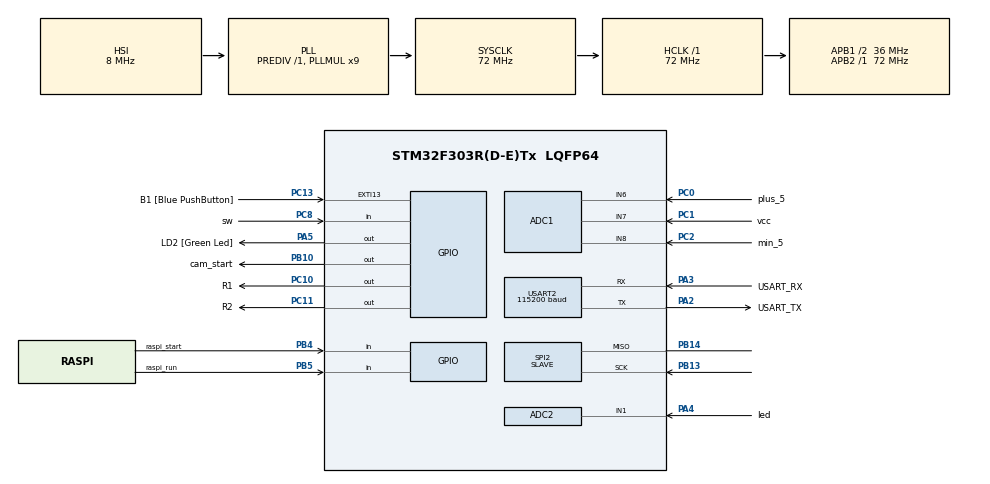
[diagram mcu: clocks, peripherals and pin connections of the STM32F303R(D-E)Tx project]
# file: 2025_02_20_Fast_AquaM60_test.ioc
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ADC1.Channel-5\#ChannelRegularConversion=ADC_CHANNEL_6
ADC1.Channel-6\#ChannelRegularConversion=ADC_CHANNEL_7
ADC1.Channel-7\#ChannelRegularConversion=ADC_CHANNEL_8
ADC1.ClockPrescaler=ADC_CLOCK_SYNC_PCLK_DIV1
ADC1.ContinuousConvMode=ENABLE
ADC1.DiscontinuousConvMode=DISABLE
ADC1.NbrOfConversion=3
ADC1.NbrOfConversionFlag=1
ADC1.Offset-5\#ChannelRegularConversion=0
ADC1.Offset-6\#ChannelRegularConversion=0
ADC1.Offset-7\#ChannelRegularConversion=0
ADC1.OffsetNumber-5\#ChannelRegularConversion=ADC_OFFSET_NONE
ADC1.OffsetNumber-6\#ChannelRegularConversion=ADC_OFFSET_NONE
ADC1.OffsetNumber-7\#ChannelRegularConversion=ADC_OFFSET_NONE
ADC1.Rank-5\#ChannelRegularConversion=1
ADC1.Rank-6\#ChannelRegularConversion=2
ADC1.Rank-7\#ChannelRegularConversion=3
ADC1.SamplingTime-5\#ChannelRegularConversion=ADC_SAMPLETIME_19CYCLES_5
ADC1.SamplingTime-6\#ChannelRegularConversion=ADC_SAMPLETIME_19CYCLES_5
ADC1.SamplingTime-7\#ChannelRegularConversion=ADC_SAMPLETIME_19CYCLES_5
ADC1.SamplingTimeOPAMP-7\#ChannelRegularConversion=ADC_SAMPLETIME_61CYCLES_5
ADC1.master=1
ADC2.Channel-19\#ChannelRegularConversion=ADC_CHANNEL_1
ADC2.ClockPrescaler=ADC_CLOCK_SYNC_PCLK_DIV1
ADC2.ContinuousConvMode=ENABLE
ADC2.NbrOfConversionFlag=1
ADC2.Offset-19\#ChannelRegularConversion=0
ADC2.OffsetNumber-19\#ChannelRegularConversion=ADC_OFFSET_NONE
ADC2.Rank-19\#ChannelRegularConversion=1
ADC2.SamplingTime-19\#ChannelRegularConversion=ADC_SAMPLETIME_1CYCLE_5
Dma.ADC1.0.Direction=DMA_PERIPH_TO_MEMORY
Dma.ADC1.0.Instance=DMA1_Channel1
Dma.ADC1.0.MemDataAlignment=DMA_MDATAALIGN_WORD
Dma.ADC1.0.MemInc=DMA_MINC_ENABLE
Dma.ADC1.0.Mode=DMA_CIRCULAR
Dma.ADC1.0.PeriphDataAlignment=DMA_PDATAALIGN_HALFWORD
Dma.ADC1.0.PeriphInc=DMA_PINC_DISABLE
Dma.ADC1.0.Priority=DMA_PRIORITY_MEDIUM
Dma.Request0=ADC1
Mcu.Family=STM32F3
Mcu.Name=STM32F303R(D-E)Tx
Mcu.Package=LQFP64
NVIC.DMA1_Channel1_IRQn=true\:0\:0\:false\:false\:true\:false\:true\:true
NVIC.PriorityGroup=NVIC_PRIORITYGROUP_0
PA13.GPIO_Label=TMS
PA13.Mode=Serial_Wire
PA13.Signal=SYS_JTMS-SWDIO
PA14.GPIO_Label=TCK
PA14.Mode=Serial_Wire
PA14.Signal=SYS_JTCK-SWCLK
PA2.GPIO_Label=USART_TX
PA2.GPIO_Mode=GPIO_MODE_AF_PP
PA2.GPIO_PuPd=GPIO_NOPULL
PA2.GPIO_Speed=GPIO_SPEED_FREQ_LOW
PA2.Mode=Asynchronous
PA2.Signal=USART2_TX
PA3.GPIO_Label=USART_RX
PA3.GPIO_Mode=GPIO_MODE_AF_PP
PA3.GPIO_PuPd=GPIO_NOPULL
PA3.GPIO_Speed=GPIO_SPEED_FREQ_LOW
PA3.Mode=Asynchronous
PA3.Signal=USART2_RX
PA4.GPIO_Label=led
PA4.Mode=IN1-Single-Ended
PA4.Signal=ADC2_IN1
PA5.GPIO_Label=LD2 [Green Led]
PA5.GPIO_Mode=GPIO_MODE_OUTPUT_PP
PA5.GPIO_PuPd=GPIO_NOPULL
PA5.GPIO_Speed=GPIO_SPEED_FREQ_LOW
PA5.Signal=GPIO_Output
PB10.GPIO_Label=cam_start
PB10.GPIO_PuPd=GPIO_PULLDOWN
PB10.GPIO_Speed=GPIO_SPEED_FREQ_HIGH
PB10.Signal=GPIO_Output
PB13.Mode=Simplex_Bidirectional_Slave
PB13.Signal=SPI2_SCK
PB14.Mode=Simplex_Bidirectional_Slave
PB14.Signal=SPI2_MISO
PB3.GPIO_Label=SWO
PB3.Signal=SYS_JTDO-TRACESWO
PB4.GPIO_Label=raspi_start
PB4.GPIO_PuPd=GPIO_PULLDOWN
PB4.Signal=GPIO_Input
PB5.GPIO_Label=raspi_run
PB5.GPIO_PuPd=GPIO_PULLDOWN
PB5.Signal=GPIO_Input
PC0.GPIO_Label=plus_5
PC0.Signal=ADCx_IN6
PC1.GPIO_Label=vcc
PC1.Signal=ADCx_IN7
PC10.GPIO_Label=R1
PC10.Signal=GPIO_Output
PC11.GPIO_Label=R2
PC11.GPIO_PuPd=GPIO_PULLDOWN
PC11.Signal=GPIO_Output
PC13.GPIO_Label=B1 [Blue PushButton]
PC13.GPIO_ModeDefaultEXTI=GPIO_MODE_IT_FALLING
PC13.Signal=GPXTI13
PC14-OSC32_IN.Mode=LSE-External-Oscillator
PC14-OSC32_IN.Signal=RCC_OSC32_IN
PC15-OSC32_OUT.Mode=LSE-External-Oscillator
PC15-OSC32_OUT.Signal=RCC_OSC32_OUT
PC2.GPIO_Label=min_5
PC2.Signal=ADCx_IN8
PC8.GPIO_Label=sw
PC8.GPIO_PuPd=GPIO_PULLDOWN
PC8.Signal=GPIO_Input
PF0-OSC_IN.Mode=HSE-External-Clock-Source
PF0-OSC_IN.Signal=RCC_OSC_IN
PF1-OSC_OUT.Signal=RCC_OSC_OUT
ProjectManager.HeapSize=0x200
ProjectManager.StackSize=0x400
ProjectManager.TargetToolchain=STM32CubeIDE
RCC.AHBFreq_Value=72000000
RCC.APB1CLKDivider=RCC_HCLK_DIV2
RCC.APB1Freq_Value=36000000
RCC.APB1TimFreq_Value=72000000
RCC.APB2Freq_Value=72000000
RCC.APB2TimFreq_Value=72000000
RCC.CortexFreq_Value=72000000
RCC.HCLKFreq_Value=72000000
RCC.HSE_VALUE=8000000
RCC.HSI_VALUE=8000000
RCC.PLLM=8
RCC.PLLMUL=RCC_PLL_MUL9
RCC.PLLN=336
RCC.PLLP=RCC_PLLP_DIV4
RCC.PLLQ=7
RCC.RCC_PLLsource_Clock_Source_FROM_HSE=RCC_HSE_PREDIV_DIV2
RCC.SYSCLKFreq_VALUE=72000000
RCC.SYSCLKSourceVirtual=RCC_SYSCLKSOURCE_PLLCLK
RCC.USBFreq_Value=72000000
SH.ADCx_IN6.0=ADC1_IN6,IN6-Single-Ended
SH.ADCx_IN7.0=ADC1_IN7,IN7-Single-Ended
SH.ADCx_IN8.0=ADC1_IN8,IN8-Single-Ended
SPI2.Direction=SPI_DIRECTION_1LINE
SPI2.Mode=SPI_MODE_SLAVE
SPI2.VirtualType=VM_SLAVE
USART2.BaudRate=115200
USART2.VirtualMode-Asynchronous=VM_ASYNC
board=NUCLEO-F303RE

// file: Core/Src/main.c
/* USER CODE BEGIN Header */
/**
  ******************************************************************************
  * @file           : main.c
  * @brief          : Main program body
  ******************************************************************************
  * @attention
  *
  * Copyright (c) 2024 STMicroelectronics.
  * All rights reserved.
  *
  * This software is licensed under terms that can be found in the LICENSE file
  * in the root directory of this software component.
  * If no LICENSE file comes with this software, it is provided AS-IS.
  *
  ******************************************************************************
  */
/* USER CODE END Header */
#include "main.h"

/* USER CODE BEGIN Includes */
#include <stdio.h>
#include <string.h>
#include <math.h>
#include <stdbool.h>
/* USER CODE END Includes */

/* USER CODE BEGIN PD */
#define NUM_CHANNELS 3
/* USER CODE END PD */

ADC_HandleTypeDef hadc1;
ADC_HandleTypeDef hadc2;
DMA_HandleTypeDef hdma_adc1;

SPI_HandleTypeDef hspi2;

UART_HandleTypeDef huart2;

/* USER CODE BEGIN PV */
char uart_buffer[50];
uint32_t adc_dma_buffer[NUM_CHANNELS];  // Stores ADC results
uint16_t vcc = 0;
uint32_t vcc_sum = 0;
uint16_t vcc_avg = 0;

uint16_t led = 0;
uint32_t led_sum = 0;
uint16_t led_avg = 0;

uint16_t plus_5 = 0;
uint32_t plus_5_sum = 0;
uint16_t plus_5_avg = 0;

uint16_t min_5 = 0;
uint32_t min_5_sum = 0;
uint16_t min_5_avg = 0;

uint32_t sample_count = 0;

char volt[100];
bool buttonPreviouslyPressed = false;
uint32_t buttonPressStart = 0;

uint16_t start_time;
/* USER CODE END PV */

void SystemClock_Config(void);
static void MX_GPIO_Init(void);
static void MX_DMA_Init(void);
static void MX_USART2_UART_Init(void);
static void MX_ADC1_Init(void);
static void MX_ADC2_Init(void);
static void MX_SPI2_Init(void);
/* USER CODE BEGIN PFP */
void send_msg(char *msg);
void screen_validate(void);
void voltage_messung(void);
/* USER CODE END PFP */

int main(void)
{

  /* MCU Configuration--------------------------------------------------------*/

  /* Reset of all peripherals, Initializes the Flash interface and the Systick. */
  HAL_Init();

  /* Configure the system clock */
  SystemClock_Config();

  /* Initialize all configured peripherals */
  MX_GPIO_Init();
  MX_DMA_Init();
  MX_USART2_UART_Init();
  MX_ADC1_Init();
  MX_ADC2_Init();
  MX_SPI2_Init();
  /* USER CODE BEGIN 2 */
  send_msg("Press Button for Start.....\r\n");

  /* USER CODE END 2 */

  /* Infinite loop */
  while (1)
  {

    /* USER CODE BEGIN 3 */

	  GPIO_PinState buttonState = HAL_GPIO_ReadPin(sw_GPIO_Port, sw_Pin);

	  	      if (buttonState == GPIO_PIN_SET) // Button is being pressed
	  	      {
	  	          if (!buttonPreviouslyPressed)
	  	          {
	  	              // First time seeing the button pressed
	  	              buttonPressStart = HAL_GetTick();
	  	              buttonPreviouslyPressed = 1;
	  	          }
	  	          else
	  	          {
	  	              // Button is still being held
	  	              if ((HAL_GetTick() - buttonPressStart) >= 2000)
	  	              {
	  	                  // Button held for 3 seconds → RESET
	  	            	  send_msg("\r\n\r\n Reseting Device.... \r\n\r\n");
	  	            	  HAL_Delay(100);
	  	                  __NVIC_SystemReset();
	  	              }
	  	          }
	  	      }
	  	      else
	  	      {
	  	          if (buttonPreviouslyPressed)
	  	          {
	  	              // Button was released — check if it was a short press
	  	              if ((HAL_GetTick() - buttonPressStart) < 2000)
	  	              {

	  	            	// Short press → run your code
	  	            	// Your one-click action here

	  	               /*
	  	            	* 	das Gerät einschalten
	  	            	* 	1,	Press button through relay
	  	            	* 	2,	Start R1 Relay
	  	            	* 	3,	After 200 mili-second stop R1 Relay
	  	            	*/
	  	            		      // At time 0, set pin 1 HIGH
	  	            		           	   send_msg("start device ! \r\n");
//	            	  		  		  	HAL_GPIO_WritePin(GPIOC, R1_Pin, GPIO_PIN_RESET);
//	            	  		  	// At 200 mili second, pin 1 should go LOW
//	            	  		  		  	HAL_Delay(200);
//	            	  		  		  	HAL_GPIO_WritePin(GPIOC, R1_Pin, GPIO_PIN_SET);

	  	               /*
	  	            	*	Einschalten des LED-Lichts
	  	            	* 	1,	Press button through relay for 2500 mili-second
	  	            	* 	2,	after 3500 mili-second of release of R1 relay
	  	            	* 	3,	Start R2 Relay
	  	            	* 	4,	After 2500 mili-second stop R2 Relay
	  	            	*/
	  	            		     // After 3600 mili second(3,6 second), set pin 2 HIGH
//	            	  		  		   HAL_Delay(3500);
//	            	  		  		   send_msg("start LED light & Measurement ! \r\n");
//	            	  		  		   HAL_GPIO_WritePin(GPIOC, R2_Pin, GPIO_PIN_RESET);
//	            	  		  	// After 2500 mili-second, set pin 2 LOW
//	            	  		  		   HAL_Delay(2500);
//	            	  		  		   HAL_GPIO_WritePin(GPIOC, R2_Pin, GPIO_PIN_SET);

	  	            	/*
	  	            	 * 	Starten einer Spannungsmessung
	  	            	 */
//	           						HAL_Delay(200);
	  	            		        send_msg("start voltage measuring ! \r\n");
	  	            		        voltage_messung();

	  	            	/*
	  	            	 *	einen Bildschirm validieren
	  	            	 */
//	            	  		  		 HAL_Delay(100);
	  	            		         send_msg("start display validating ! \r\n");
	            	  		  		 screen_validate();

	  	            	/*
	  	            	 *	das Gerät einschalten
	  	            	 * 	1,	Press button through relay
	  	            	 * 	2,	Start R1 Relay
	  	            	 * 	3,	After 2500 mili-second stop R1 Relay
	  	            	 */

	  	            		    // After validating screen, set pin 1 HIGH
//	            	  		  		  HAL_Delay(10);
//	            	  		  		  HAL_GPIO_WritePin(GPIOC, R1_Pin, GPIO_PIN_RESET);
	  	            		         send_msg("stop device ! \r\n\r\n");
//	            	  		  	// After 2500 mili second, pin 1 should go LOW
//	            	  		  		  HAL_Delay(2500);
//	            	  		  		  HAL_GPIO_WritePin(GPIOC, R1_Pin, GPIO_PIN_SET);
//	            	  		  		  HAL_Delay(2000);

	  	              }
	  	            buttonPreviouslyPressed = 0;

	  	      }

	  	    }
  }
  /* USER CODE END 3 */
}

void SystemClock_Config(void)
{
  RCC_OscInitTypeDef RCC_OscInitStruct = {0};
  RCC_ClkInitTypeDef RCC_ClkInitStruct = {0};
  RCC_PeriphCLKInitTypeDef PeriphClkInit = {0};

  /** Initializes the RCC Oscillators according to the specified parameters
  * in the RCC_OscInitTypeDef structure.
  */
  RCC_OscInitStruct.OscillatorType = RCC_OSCILLATORTYPE_HSI;
  RCC_OscInitStruct.HSIState = RCC_HSI_ON;
  RCC_OscInitStruct.HSICalibrationValue = RCC_HSICALIBRATION_DEFAULT;
  RCC_OscInitStruct.PLL.PLLState = RCC_PLL_ON;
  RCC_OscInitStruct.PLL.PLLSource = RCC_PLLSOURCE_HSI;
  RCC_OscInitStruct.PLL.PLLMUL = RCC_PLL_MUL9;
  RCC_OscInitStruct.PLL.PREDIV = RCC_PREDIV_DIV1;
  if (HAL_RCC_OscConfig(&RCC_OscInitStruct) != HAL_OK)
  {
    Error_Handler();
  }

  /** Initializes the CPU, AHB and APB buses clocks
  */
  RCC_ClkInitStruct.ClockType = RCC_CLOCKTYPE_HCLK|RCC_CLOCKTYPE_SYSCLK
                              |RCC_CLOCKTYPE_PCLK1|RCC_CLOCKTYPE_PCLK2;
  RCC_ClkInitStruct.SYSCLKSource = RCC_SYSCLKSOURCE_PLLCLK;
  RCC_ClkInitStruct.AHBCLKDivider = RCC_SYSCLK_DIV1;
  RCC_ClkInitStruct.APB1CLKDivider = RCC_HCLK_DIV2;
  RCC_ClkInitStruct.APB2CLKDivider = RCC_HCLK_DIV1;

  if (HAL_RCC_ClockConfig(&RCC_ClkInitStruct, FLASH_LATENCY_2) != HAL_OK)
  {
    Error_Handler();
  }
  PeriphClkInit.PeriphClockSelection = RCC_PERIPHCLK_USART2;
  PeriphClkInit.Usart2ClockSelection = RCC_USART2CLKSOURCE_PCLK1;
  if (HAL_RCCEx_PeriphCLKConfig(&PeriphClkInit) != HAL_OK)
  {
    Error_Handler();
  }
}

static void MX_ADC1_Init(void)
{

  ADC_MultiModeTypeDef multimode = {0};
  ADC_ChannelConfTypeDef sConfig = {0};

  /** Common config
  */
  hadc1.Instance = ADC1;
  hadc1.Init.ClockPrescaler = ADC_CLOCK_SYNC_PCLK_DIV1;
  hadc1.Init.Resolution = ADC_RESOLUTION_12B;
  hadc1.Init.ScanConvMode = ADC_SCAN_ENABLE;
  hadc1.Init.ContinuousConvMode = ENABLE;
  hadc1.Init.DiscontinuousConvMode = DISABLE;
  hadc1.Init.ExternalTrigConvEdge = ADC_EXTERNALTRIGCONVEDGE_NONE;
  hadc1.Init.ExternalTrigConv = ADC_SOFTWARE_START;
  hadc1.Init.DataAlign = ADC_DATAALIGN_RIGHT;
  hadc1.Init.NbrOfConversion = 3;
  hadc1.Init.DMAContinuousRequests = DISABLE;
  hadc1.Init.EOCSelection = ADC_EOC_SINGLE_CONV;
  hadc1.Init.LowPowerAutoWait = DISABLE;
  hadc1.Init.Overrun = ADC_OVR_DATA_OVERWRITTEN;
  if (HAL_ADC_Init(&hadc1) != HAL_OK)
  {
    Error_Handler();
  }

  /** Configure the ADC multi-mode
  */
  multimode.Mode = ADC_MODE_INDEPENDENT;
  if (HAL_ADCEx_MultiModeConfigChannel(&hadc1, &multimode) != HAL_OK)
  {
    Error_Handler();
  }

  /** Configure Regular Channel
  */
  sConfig.Channel = ADC_CHANNEL_6;
  sConfig.Rank = ADC_REGULAR_RANK_1;
  sConfig.SingleDiff = ADC_SINGLE_ENDED;
  sConfig.SamplingTime = ADC_SAMPLETIME_1CYCLE_5;
  sConfig.OffsetNumber = ADC_OFFSET_NONE;
  sConfig.Offset = 0;
  if (HAL_ADC_ConfigChannel(&hadc1, &sConfig) != HAL_OK)
  {
    Error_Handler();
  }

  /** Configure Regular Channel
  */
  sConfig.Channel = ADC_CHANNEL_7;
  sConfig.Rank = ADC_REGULAR_RANK_2;
  if (HAL_ADC_ConfigChannel(&hadc1, &sConfig) != HAL_OK)
  {
    Error_Handler();
  }

  /** Configure Regular Channel
  */
  sConfig.Channel = ADC_CHANNEL_8;
  sConfig.Rank = ADC_REGULAR_RANK_3;
  if (HAL_ADC_ConfigChannel(&hadc1, &sConfig) != HAL_OK)
  {
    Error_Handler();
  }

}

static void MX_ADC2_Init(void)
{

  ADC_ChannelConfTypeDef sConfig = {0};

  /** Common config
  */
  hadc2.Instance = ADC2;
  hadc2.Init.ClockPrescaler = ADC_CLOCK_SYNC_PCLK_DIV1;
  hadc2.Init.Resolution = ADC_RESOLUTION_12B;
  hadc2.Init.ScanConvMode = ADC_SCAN_DISABLE;
  hadc2.Init.ContinuousConvMode = ENABLE;
  hadc2.Init.DiscontinuousConvMode = DISABLE;
  hadc2.Init.ExternalTrigConvEdge = ADC_EXTERNALTRIGCONVEDGE_NONE;
  hadc2.Init.ExternalTrigConv = ADC_SOFTWARE_START;
  hadc2.Init.DataAlign = ADC_DATAALIGN_RIGHT;
  hadc2.Init.NbrOfConversion = 1;
  hadc2.Init.DMAContinuousRequests = DISABLE;
  hadc2.Init.EOCSelection = ADC_EOC_SINGLE_CONV;
  hadc2.Init.LowPowerAutoWait = DISABLE;
  hadc2.Init.Overrun = ADC_OVR_DATA_OVERWRITTEN;
  if (HAL_ADC_Init(&hadc2) != HAL_OK)
  {
    Error_Handler();
  }

  /** Configure Regular Channel
  */
  sConfig.Channel = ADC_CHANNEL_1;
  sConfig.Rank = ADC_REGULAR_RANK_1;
  sConfig.SingleDiff = ADC_SINGLE_ENDED;
  sConfig.SamplingTime = ADC_SAMPLETIME_1CYCLE_5;
  sConfig.OffsetNumber = ADC_OFFSET_NONE;
  sConfig.Offset = 0;
  if (HAL_ADC_ConfigChannel(&hadc2, &sConfig) != HAL_OK)
  {
    Error_Handler();
  }

}

static void MX_SPI2_Init(void)
{

  /* SPI2 parameter configuration*/
  hspi2.Instance = SPI2;
  hspi2.Init.Mode = SPI_MODE_SLAVE;
  hspi2.Init.Direction = SPI_DIRECTION_1LINE;
  hspi2.Init.DataSize = SPI_DATASIZE_4BIT;
  hspi2.Init.CLKPolarity = SPI_POLARITY_LOW;
  hspi2.Init.CLKPhase = SPI_PHASE_1EDGE;
  hspi2.Init.NSS = SPI_NSS_SOFT;
  hspi2.Init.FirstBit = SPI_FIRSTBIT_MSB;
  hspi2.Init.TIMode = SPI_TIMODE_DISABLE;
  hspi2.Init.CRCCalculation = SPI_CRCCALCULATION_DISABLE;
  hspi2.Init.CRCPolynomial = 7;
  hspi2.Init.CRCLength = SPI_CRC_LENGTH_DATASIZE;
  hspi2.Init.NSSPMode = SPI_NSS_PULSE_DISABLE;
  if (HAL_SPI_Init(&hspi2) != HAL_OK)
  {
    Error_Handler();
  }

}

static void MX_USART2_UART_Init(void)
{

  huart2.Instance = USART2;
  huart2.Init.BaudRate = 115200;
  huart2.Init.WordLength = UART_WORDLENGTH_8B;
  huart2.Init.StopBits = UART_STOPBITS_1;
  huart2.Init.Parity = UART_PARITY_NONE;
  huart2.Init.Mode = UART_MODE_TX_RX;
  huart2.Init.HwFlowCtl = UART_HWCONTROL_NONE;
  huart2.Init.OverSampling = UART_OVERSAMPLING_16;
  huart2.Init.OneBitSampling = UART_ONE_BIT_SAMPLE_DISABLE;
  huart2.AdvancedInit.AdvFeatureInit = UART_ADVFEATURE_NO_INIT;
  if (HAL_UART_Init(&huart2) != HAL_OK)
  {
    Error_Handler();
  }

}

static void MX_DMA_Init(void)
{

  /* DMA controller clock enable */
  __HAL_RCC_DMA1_CLK_ENABLE();

  /* DMA interrupt init */
  /* DMA1_Channel1_IRQn interrupt configuration */
  HAL_NVIC_SetPriority(DMA1_Channel1_IRQn, 0, 0);
  HAL_NVIC_EnableIRQ(DMA1_Channel1_IRQn);

}

static void MX_GPIO_Init(void)
{
  GPIO_InitTypeDef GPIO_InitStruct = {0};

  /* GPIO Ports Clock Enable */
  __HAL_RCC_GPIOC_CLK_ENABLE();
  __HAL_RCC_GPIOF_CLK_ENABLE();
  __HAL_RCC_GPIOA_CLK_ENABLE();
  __HAL_RCC_GPIOB_CLK_ENABLE();

  /*Configure GPIO pin Output Level */
  HAL_GPIO_WritePin(LD2_GPIO_Port, LD2_Pin, GPIO_PIN_RESET);

  /*Configure GPIO pin Output Level */
  HAL_GPIO_WritePin(GPIOC, R1_Pin|R2_Pin, GPIO_PIN_RESET);

  /*Configure GPIO pin Output Level */
  HAL_GPIO_WritePin(GPIOB, raspi_start_Pin|raspi_run_Pin, GPIO_PIN_RESET);

  /*Configure GPIO pin : B1_Pin */
  GPIO_InitStruct.Pin = B1_Pin;
  GPIO_InitStruct.Mode = GPIO_MODE_IT_FALLING;
  GPIO_InitStruct.Pull = GPIO_NOPULL;
  HAL_GPIO_Init(B1_GPIO_Port, &GPIO_InitStruct);

  /*Configure GPIO pin : LD2_Pin */
  GPIO_InitStruct.Pin = LD2_Pin;
  GPIO_InitStruct.Mode = GPIO_MODE_OUTPUT_PP;
  GPIO_InitStruct.Pull = GPIO_NOPULL;
  GPIO_InitStruct.Speed = GPIO_SPEED_FREQ_LOW;
  HAL_GPIO_Init(LD2_GPIO_Port, &GPIO_InitStruct);

  /*Configure GPIO pin : cam_start_Pin */
  GPIO_InitStruct.Pin = cam_start_Pin;
  GPIO_InitStruct.Mode = GPIO_MODE_OUTPUT_PP;
  GPIO_InitStruct.Pull = GPIO_PULLDOWN;
  HAL_GPIO_Init(cam_start_GPIO_Port, &GPIO_InitStruct);

  /*Configure GPIO pin : sw_Pin */
  GPIO_InitStruct.Pin = sw_Pin;
  GPIO_InitStruct.Mode = GPIO_MODE_INPUT;
  GPIO_InitStruct.Pull = GPIO_PULLDOWN;
  HAL_GPIO_Init(sw_GPIO_Port, &GPIO_InitStruct);

  /*Configure GPIO pins : R1_Pin R2_Pin */
  GPIO_InitStruct.Pin = R1_Pin|R2_Pin;
  GPIO_InitStruct.Mode = GPIO_MODE_OUTPUT_PP;
  GPIO_InitStruct.Pull = GPIO_PULLDOWN;
  GPIO_InitStruct.Speed = GPIO_SPEED_FREQ_LOW;
  HAL_GPIO_Init(GPIOC, &GPIO_InitStruct);

  /*Configure GPIO pins : raspi_start_Pin raspi_run_Pin */
  GPIO_InitStruct.Pin = raspi_start_Pin|raspi_run_Pin;
  GPIO_InitStruct.Mode = GPIO_MODE_INPUT;
  GPIO_InitStruct.Pull = GPIO_PULLDOWN;
  GPIO_InitStruct.Speed = GPIO_SPEED_FREQ_LOW;
  HAL_GPIO_Init(GPIOB, &GPIO_InitStruct);

}

/* USER CODE BEGIN 4 */
void screen_validate(void){

	uint8_t RX_Buffer [2];

	if(HAL_GPIO_ReadPin(raspi_start_GPIO_Port, raspi_start_Pin) == 1){
		send_msg("raspberry pi is OK \r\n");		// send message that raspberry pi is OK

		// start raspberry pi by giving signal to cam_start pin
		HAL_GPIO_WritePin(cam_start_GPIO_Port, cam_start_Pin, GPIO_PIN_SET);
		HAL_Delay(250);
		HAL_GPIO_WritePin(cam_start_GPIO_Port, cam_start_Pin, GPIO_PIN_RESET);
		HAL_Delay(1500);

		if(HAL_GPIO_ReadPin(raspi_run_GPIO_Port, raspi_run_Pin) == 1)send_msg("raspberry pi is running \r\n");		// send message raspberry pi is running
		// check if the raspberry pi is running or not
		while(HAL_GPIO_ReadPin(raspi_run_GPIO_Port, raspi_run_Pin) == 1){

			HAL_SPI_Receive(&hspi2, RX_Buffer, sizeof(RX_Buffer), 9000); //Receiving data in Blocking mode
			uint8_t data = ((RX_Buffer[0] << 4) | RX_Buffer[1]);

			if(data == 0x2A){
				send_msg("screen is working OK \r\n");
			}
			else if(data == 0x24){
				send_msg("screen is not OK \r\n");
			}
			else send_msg("Reset STM Board \r\n");

		}

	}
	else send_msg("Raspberry pi is not working ! \r\n");
}

void voltage_messung(void){

	for (int i = 0; i < NUM_CHANNELS; i++) {
	    adc_dma_buffer[i] = 0;
	}

	// Start ADC with DMA
	HAL_ADC_Start_DMA(&hadc1, adc_dma_buffer, NUM_CHANNELS);

	start_time = HAL_GetTick();

	while((HAL_GetTick()-start_time) < 2000){

		HAL_ADC_Start(&hadc2); // Start ADC Conversion
		HAL_ADC_PollForConversion(&hadc2, HAL_MAX_DELAY); // Poll ADC1 Peripheral
		led = HAL_ADC_GetValue(&hadc2); // Read ADC Conversion Resulte
		HAL_ADC_Stop(&hadc2);

		// You can use adc_dma_buffer[0] and adc_dma_buffer[1] any time!
		  	 plus_5 = adc_dma_buffer[0];
		  	 vcc = adc_dma_buffer[1];
		  	 min_5 = adc_dma_buffer[2];

		sprintf(volt, "/* %d, %d, %d, %d */ \r\n", led, vcc,  plus_5, min_5);
		HAL_UART_Transmit(&huart2, (uint8_t*)volt, strlen(volt), HAL_MAX_DELAY);

		led_sum += led;
		vcc_sum += vcc;
		min_5_sum += min_5;
		plus_5_sum += plus_5;
		sample_count++;

	}

	HAL_ADC_Stop_DMA(&hadc1);

	// Calculate averages
		if (sample_count > 0) {
			led_avg = led_sum / sample_count;
		    vcc_avg = vcc_sum / sample_count;
		    min_5_avg = min_5_sum / sample_count;
		    plus_5_avg = plus_5_sum / sample_count;
		}

		sprintf(volt, "/* led_avg = %d, Vcc_avg = %d, plus_5_avg = %d, min_5_avg = %d */ \r\n", led_avg, vcc_avg, plus_5_avg, min_5_avg);
		HAL_UART_Transmit(&huart2, (uint8_t*)volt, strlen(volt), HAL_MAX_DELAY);

		if (led_avg > 150)
				send_msg("LED is not OK \r\n");

		if (vcc_avg < 4000)
				send_msg("Vcc Volt is not OK ! \r\n");

		if(plus_5_avg < 3000)
				send_msg("Plus 5 Volt is not OK \r\n");

		if(min_5_avg > 1500)
				send_msg("Minus 5 volt is not OK \r\n");

		led = led_sum = led_avg = vcc = vcc_sum = vcc_avg = min_5 = min_5_sum = min_5_avg = plus_5 = plus_5_sum = plus_5_avg = sample_count = 0;

}

void send_msg(char *msg){
	HAL_UART_Transmit(&huart2,(uint8_t *)msg, strlen(msg), HAL_MAX_DELAY);
}
/* USER CODE END 4 */

void Error_Handler(void)
{
  __disable_irq();
  while (1)
  {
  }
}
